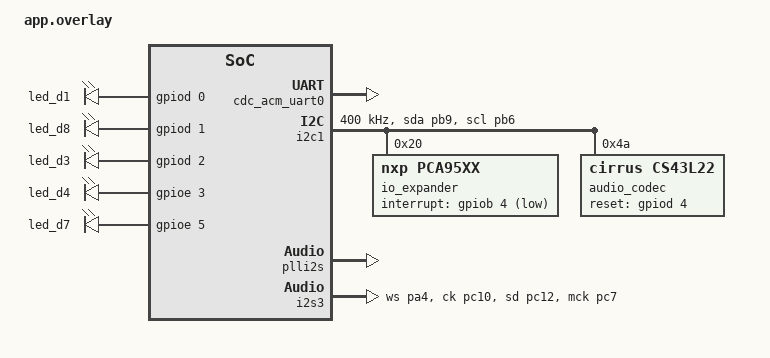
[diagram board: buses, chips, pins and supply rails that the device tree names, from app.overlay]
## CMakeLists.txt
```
cmake_minimum_required(VERSION 3.20.0)

set(CMAKE_EXPORT_COMPILE_COMMANDS ON)
set(DTC_OVERLAY_FILE ./app.overlay)

find_package(Zephyr REQUIRED HINTS $ENV{ZEPHYR_BASE})

project(synthesizer)
add_subdirectory(drivers)

file(GLOB sources src/*.c src/*.cpp src/*/*.c src/*/*.cpp)
target_sources(app PRIVATE ${sources})
```

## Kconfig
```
# Copyright (c) 2021 Nordic Semiconductor ASA
# SPDX-License-Identifier: Apache-2.0
#
# This Kconfig file is picked by the Zephyr build system because it is defined
# as the module Kconfig entry point (see zephyr/module.yml). You can browse
# module options by going to Zephyr -> Modules in Kconfig.

rsource "drivers/Kconfig"

source "Kconfig.zephyr"
```

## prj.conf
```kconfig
# Enable GPIO support.
CONFIG_GPIO=y

# Enable USB stack for emulated UART shell.
CONFIG_USB_DEVICE_STACK=y
CONFIG_USB_DEVICE_PRODUCT="Synthesizer"
CONFIG_USB_DEVICE_PID=0x0001
CONFIG_USB_DEVICE_INITIALIZE_AT_BOOT=n

# Enable UART driver.
CONFIG_SERIAL=y
CONFIG_UART_LINE_CTRL=y
CONFIG_UART_INTERRUPT_DRIVEN=y

# Use UART for console and enable logging.
CONFIG_CONSOLE=y
CONFIG_UART_CONSOLE=y
CONFIG_LOG=y

# Port expander support.
CONFIG_I2C=y
CONFIG_GPIO_PCA95XX=y
CONFIG_GPIO_PCA95XX_INTERRUPT=y

# DAC support.
CONFIG_I2S=y
CONFIG_AUDIO=y
CONFIG_AUDIO_CODEC=y

# Rotary encoder support.
# CONFIG_SENSOR=y
# CONFIG_INPUT=y
# CONFIG_INPUT_GPIO_QDEC=y

CONFIG_CPP=y

# TODO
# CONFIG_EVENTS=y
CONFIG_CMSIS_DSP=y
CONFIG_FPU=y
CONFIG_CMSIS_DSP_TRANSFORM=y
CONFIG_CMSIS_DSP_FILTERING=y
```

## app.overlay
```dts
// NOTE:
// - PE14 doesn't seem to be hooked up on the board, so SW2 doesn't do DOWN.

/ {
    chosen {
        led,debug_0 = &green_led_4;
        led,debug_1 = &orange_led_3;
        led,debug_2 = &red_led_5;
        led,debug_3 = &blue_led_6;
        led,status_0 = &led_d1;
        led,status_1 = &led_d8;
        led,status_2 = &led_d3;
        led,status_3 = &led_d4;
        led,status_4 = &led_d7;

        enc,osc_wave = &enc_s3;
        enc,osc_pitch = &enc_s1;
        enc,osc_volume = &enc_s4;

        audio,i2s = &i2s3;
        audio,codec = &audio_codec;

        // enc,lfo_freq = &enc_s2;
        // enc,lfo_amp = &enc_s5;
        // enc,lfo_amp_rel = &enc_s6;
        // enc_amp_mod_att = &enc_lfo_freq;
        // enc_amp_mod_sus = &enc_lfo_amp;

        sw,osc_sel = &sw_osc1;
        sw,effects_sel = &sw1;
        sw,effects_target = &sw2;
        sw,effects_conf = &sw3;
    };

    switches {
        compatible = "three-pos-switches";

        sw_osc1: sw_osc1 {
            down-pin = <&gpioe 8 GPIO_ACTIVE_HIGH>;
            up-pin = <&gpioe 9 GPIO_ACTIVE_HIGH>;
        };

        sw1: sw1 {
            down-pin = <&gpioe 12 GPIO_ACTIVE_HIGH>;
            up-pin = <&gpioe 13 GPIO_ACTIVE_HIGH>;
        };

        sw2: sw2 {
            down-pin = <&gpioe 14 GPIO_ACTIVE_HIGH>;
            up-pin = <&gpioe 15 GPIO_ACTIVE_HIGH>;
        };

        sw3: sw3 {
            down-pin = <&gpioe 10 GPIO_ACTIVE_HIGH>;
            up-pin = <&gpioe 11 GPIO_ACTIVE_HIGH>;
        };
    };

    encoders {
        compatible = "rotary-encoders";

        enc_s3: s3 {
            a-pin = <&io_expander 0 GPIO_ACTIVE_HIGH>;
            b-pin = <&io_expander 1 GPIO_ACTIVE_HIGH>;
        };

        enc_s1: s1 {
            a-pin = <&io_expander 2 GPIO_ACTIVE_HIGH>;
            b-pin = <&io_expander 3 GPIO_ACTIVE_HIGH>;
        };

        enc_s4: s4 {
            a-pin = <&io_expander 4 GPIO_ACTIVE_HIGH>;
            b-pin = <&io_expander 5 GPIO_ACTIVE_HIGH>;
        };
        enc_s2: s2 {
            a-pin = <&io_expander 6 GPIO_ACTIVE_HIGH>;
            b-pin = <&io_expander 7 GPIO_ACTIVE_HIGH>;
        };
        enc_s5: s5 {
            a-pin = <&io_expander 8 GPIO_ACTIVE_HIGH>;
            b-pin = <&io_expander 9 GPIO_ACTIVE_HIGH>;
        };
        enc_s6: s6 {
            a-pin = <&io_expander 10 GPIO_ACTIVE_HIGH>;
            b-pin = <&io_expander 11 GPIO_ACTIVE_HIGH>;
        };
    };

    leds {
        compatible = "gpio-leds";

        led_d1: d1 {
            gpios = <&gpiod 0 GPIO_ACTIVE_HIGH>;
        };
        led_d8: d8 {
            gpios = <&gpiod 1 GPIO_ACTIVE_HIGH>;
        };
        led_d3: d3 {
            gpios = <&gpiod 2 GPIO_ACTIVE_HIGH>;
        };
        led_d4: d4 {
            gpios = <&gpioe 3 GPIO_ACTIVE_HIGH>;
        };
        led_d7: d7 {
            gpios = <&gpioe 5 GPIO_ACTIVE_HIGH>;
        };
    };
};

&zephyr_udc0 {
    cdc_acm_uart0 {
		compatible = "zephyr,cdc-acm-uart";
	};
};

&i2c1 {
    status = "okay";

    clock-frequency = <I2C_BITRATE_FAST>;
    pinctrl-0 = <&i2c1_sda_pb9 &i2c1_scl_pb6>;
    pinctrl-names = "default";

    io_expander: pca9555@20 {
        compatible = "nxp,pca95xx";
        reg = <0x20>;

        gpio-controller;
        #gpio-cells = <2>;
        ngpios = <16>;
        interrupt-gpios = <&gpiob 4 GPIO_ACTIVE_LOW>;
    };

	audio_codec: cs43l22@4a {
		compatible = "cirrus,cs43l22";
		reg = <0x4a>;

		reset-gpios = <&gpiod 4 0>;
	};
};

&dma1 {
    status = "okay";
};

&plli2s {
    status = "okay";

    mul-n = <271>;
    div-r = <2>;
};

&i2s3 {
    status = "okay";

    mck-enabled;
    pinctrl-0 = <&i2s3_ws_pa4 &i2s3_ck_pc10 &i2s3_sd_pc12 &i2s3_mck_pc7>;
    clocks = <&rcc STM32_CLOCK_BUS_APB1 0x00008000>,
             <&rcc STM32_SRC_PLLI2S_R I2S_SEL(0)>;
    pinctrl-names = "default";
};
```

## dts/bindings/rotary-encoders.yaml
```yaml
description: A set of rotary encoders
compatible: rotary-encoders

child-binding:
  description: A rotary encoder with quadrature-encoded outputs
  properties:
    a-pin:
      type: phandle-array
      specifier-space: gpio
      required: true
      description: GPIO handle for the A pin
    b-pin:
      type: phandle-array
      specifier-space: gpio
      required: true
      description: GPIO handle for the B pin
```

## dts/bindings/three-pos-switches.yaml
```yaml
description: A set of three position switches
compatible: three-pos-switches

child-binding:
  description: A switch that can take three position

  properties:
    down-pin:
      type: phandle-array
      specifier-space: gpio
      required: true
      description: GPIO handle for the down pin
    up-pin:
      type: phandle-array
      specifier-space: gpio
      required: true
      description: GPIO handle for the up pin
```

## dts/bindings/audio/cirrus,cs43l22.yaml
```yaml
# Copyright (c) 2024 Titouan Christophe
# SPDX-License-Identifier: Apache-2.0

description: Cirrus CS43L22 audio DAC

include: [i2c-device.yaml]

compatible: "cirrus,cs43l22"

properties:
  reg:
    required: true

  reset-gpios:
    required: true
    type: phandle-array
    description: |
      RESET pin
```

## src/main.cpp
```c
#include <errno.h>
#include <stdbool.h>
#include <stddef.h>
#include <zephyr/device.h>
#include <zephyr/devicetree.h>
#include <zephyr/drivers/clock_control.h>
#include <zephyr/drivers/gpio.h>
#include <zephyr/drivers/i2s.h>
#include <zephyr/kernel.h>
#include <zephyr/kernel/thread.h>
#include <zephyr/kernel/thread_stack.h>
#include <zephyr/logging/log.h>
#include <zephyr/logging/log_core.h>
#include <zephyr/sys/time_units.h>
#include <zephyr/sys_clock.h>

#include <cstddef>

#include "Audio.hpp"
#include "KeyPress.hpp"
#include "Synthesizer.hpp"
#include "Synthesizer/Key.hpp"
#include "USB.hpp"
#include "leds.h"
#include "peripherals.hpp"

LOG_MODULE_REGISTER(main, LOG_LEVEL_INF);

constexpr size_t STACK_SIZE = 1024;

struct k_thread synth_thread;
struct k_thread keyboard_thread;

K_THREAD_STACK_DEFINE(synth_stack, STACK_SIZE);
K_THREAD_STACK_DEFINE(keyboard_stack, STACK_SIZE);

/// Function that checks key presses
static void check_keyboard(void) {
    char character;
    while (USB::read(&character, 1) != 0) {
        auto key         = Key(character);
        bool key_pressed = false;
        for (unsigned int i = 0; i < MAX_KEYPRESSES; ++i) {
            if (key == keypresses[i].k && keypresses[i].state != KeyPress::IDLE) {
                keypresses[i].state        = KeyPress::PRESSED;
                keypresses[i].hold_time    = sys_timepoint_calc(K_MSEC(500));
                keypresses[i].release_time = sys_timepoint_calc(K_MSEC(500));
                key_pressed                = true;
            }
        }
        // The second loop is necessary to avoid selecting an IDLE key when a
        // PRESSED or RELEASED key is located further away on the array
        if (!key_pressed) {
            for (unsigned int i = 0; i < MAX_KEYPRESSES; ++i) {
                if (keypresses[i].state == KeyPress::IDLE) {
                    keypresses[i].k            = key;
                    keypresses[i].state        = KeyPress::PRESSED;
                    keypresses[i].hold_time    = sys_timepoint_calc(K_MSEC(500));
                    keypresses[i].release_time = sys_timepoint_calc(K_MSEC(500));
                    keypresses[i].phase[0]     = 0;
                    keypresses[i].phase[1]     = 0;
                    break;
                }
            }
        }
    }
}

static inline int prepare_buffer(const k_timeout_t alloc_timeout,
                                 const k_timeout_t synth_timeout) {
    const auto block = Audio::get_block(alloc_timeout);
    if (block == nullptr) {
        return -ENOMEM;
    }

    return Synthesizer::synthesize(block, synth_timeout);
}

static void synth_thread_func(void *arg1, void *arg2, void *arg3) {
    // Fill the audio TX queue to ensure further allocs block until DMA free.
    for (unsigned int i = 0; i < Audio::BLOCK_COUNT; ++i) {
        prepare_buffer(K_NO_WAIT, K_FOREVER);
        Audio::write_block();
    }

    int ret = Audio::start_writes();
    if (ret < 0) {
        LOG_ERR("Failed to start audio writes: %d", -ret);
        return;
    }

    bool overload_led_set = false;
    while (true) {
        // NOTE:
        // Since the TX queue is filled at this point, this call will block
        // until the DMA is done and frees one the pending block. This will
        // never take longer than Audio::BLOCK_DURATION_MS. After getting this
        // block, to keep the I2S queue hydrated, another transfer MUST be
        // queued within Audio::BLOCK_DURATION_MS.
        //
        // While blocking, CPU is yielded to lower priority tasks.
        // Ensure that synthizer leaves a 20 ms slack.
        ret = prepare_buffer(K_FOREVER, K_MSEC(Audio::BLOCK_DURATION_MS - 20));
        if (ret == -ETIMEDOUT) {
            Audio::clear_block();
            (void)led_set(LED_STATUS_4);
            overload_led_set = true;
        } else if (overload_led_set) {
            led_reset(LED_STATUS_4);
            overload_led_set = false;
        }

        led_set(LED_STATUS_1);
        Audio::write_block();
        led_reset(LED_STATUS_1);
    }
}

int main(void) {
    int ret;

    constexpr auto usb_dev = DEVICE_DT_GET_ONE(zephyr_cdc_acm_uart);
    ret                    = USB::init(usb_dev);
    if (ret < 0) {
        LOG_ERR("USB initialization failed: %d", -ret);
        return ret;
    }

    ret = leds_init();
    if (ret < 0) {
        USB::println("LEDs initialization failed: %d", -ret);
        return ret;
    }

    constexpr auto audio_i2s_dev   = DEVICE_DT_GET(DT_CHOSEN(audio_i2s));
    constexpr auto audio_codec_dev = DEVICE_DT_GET(DT_CHOSEN(audio_codec));
    ret                            = Audio::init(audio_codec_dev, audio_i2s_dev);
    if (ret < 0) {
        USB::println("Audio initialization failed: %d", -ret);
        return ret;
    }

    ret = peripherals_init();
    if (ret < 0) {
        USB::println("Peripheral initialization failed: %d", -ret);
        return ret;
    }

    Synthesizer::init();

    (void)USB::println("== Synthesizer up and running ==");

    (void)k_thread_create(&synth_thread, synth_stack, STACK_SIZE, synth_thread_func, nullptr,
                          NULL, NULL, -1, 0, K_NO_WAIT);

    (void)k_thread_create(
        &keyboard_thread, keyboard_stack, STACK_SIZE,
        [](void *_a, void *_b, void *_c) {
            while (true) {
                led_set(LED_DEBUG_1);
                check_keyboard();
                led_reset(LED_DEBUG_1);

                k_msleep(20);
            }
        },
        nullptr, nullptr, nullptr, 2, 0, K_NO_WAIT);

    return 0;
}
```

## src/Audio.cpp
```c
#include "Audio.hpp"

#include <errno.h>
#include <stdbool.h>
#include <stddef.h>
#include <stdint.h>
#include <stm32_ll_spi.h>
#include <string.h>
#include <sys/cdefs.h>
#include <zephyr/audio/codec.h>
#include <zephyr/device.h>
#include <zephyr/devicetree.h>
#include <zephyr/drivers/gpio.h>
#include <zephyr/drivers/i2c.h>
#include <zephyr/drivers/i2s.h>
#include <zephyr/kernel.h>
#include <zephyr/logging/log.h>
#include <zephyr/logging/log_core.h>
#include <zephyr/sys/time_units.h>
#include <zephyr/sys/util.h>
#include <zephyr/sys_clock.h>

#include <cstdint>

LOG_MODULE_REGISTER(audio, LOG_LEVEL_INF);

int16_t *Audio::current_block;
const struct device *Audio::codec_dev;
const struct device *Audio::i2s_dev;
struct k_mem_slab Audio::mem_slab;
int16_t Audio::mem_slab_buffer[][SAMPLES_PER_BLOCK];

int Audio::init(const struct device *const codec_dev, const struct device *const i2s_dev) {
    int ret;

    if (codec_dev == nullptr || i2s_dev == nullptr) {
        LOG_ERR("Got null device pointer");
        return -EINVAL;
    }

    ret = k_mem_slab_init(&mem_slab, mem_slab_buffer, sizeof(mem_slab_buffer[0]), BLOCK_COUNT);
    if (ret < 0) {
        LOG_ERR("Failed to initialize memory slab: %d", -ret);
        return ret;
    }

    if (!device_is_ready(i2s_dev)) {
        LOG_ERR("I2S bus not ready");
        return -ENODEV;
    }

    if (!device_is_ready(codec_dev)) {
        LOG_ERR("Codec bus not ready");
        return -ENODEV;
    }

    Audio::codec_dev = codec_dev;
    Audio::i2s_dev   = i2s_dev;

    const struct i2s_config i2s_config = {
        .word_size      = 16,  // NOTE: Each sample is int16_t
        .channels       = CHANNEL_COUNT,
        .format         = I2S_FMT_DATA_FORMAT_I2S,
        .options        = I2S_OPT_FRAME_CLK_MASTER | I2S_OPT_BIT_CLK_MASTER,
        .frame_clk_freq = SAMPLING_FREQUENCY,
        .mem_slab       = &mem_slab,
        .block_size     = sizeof(mem_slab_buffer[0]),
        .timeout        = SYS_FOREVER_MS,
    };
    ret = i2s_configure(Audio::i2s_dev, I2S_DIR_TX, &i2s_config);
    if (ret < 0) {
        LOG_ERR("Failed to configure I2S: %d", -ret);
        return ret;
    }

    struct audio_codec_cfg codec_config;
    codec_config.dai_type    = AUDIO_DAI_TYPE_I2S;
    codec_config.dai_cfg.i2s = i2s_config;
    ret                      = audio_codec_configure(Audio::codec_dev, &codec_config);
    if (ret < 0) {
        LOG_ERR("Failed to configure audio codec: %d", -ret);
        return ret;
    }

    return 0;
}

int Audio::set_volume(const uint8_t volume) {
    int ret;

    audio_property_value_t value = {.vol = volume};

    ret = audio_codec_set_property(codec_dev, AUDIO_PROPERTY_OUTPUT_VOLUME,
                                   AUDIO_CHANNEL_SIDE_LEFT, value);
    if (ret < 0) {
        LOG_ERR("Failed to set right channel volume: %d", -ret);
        return ret;
    }

    ret = audio_codec_set_property(codec_dev, AUDIO_PROPERTY_OUTPUT_VOLUME,
                                   AUDIO_CHANNEL_SIDE_RIGHT, value);
    if (ret < 0) {
        LOG_ERR("Failed to set right channel volume: %d", -ret);
        return ret;
    }

    return 0;
}

int16_t *Audio::get_block(const k_timeout_t timeout) {
    // NOTE:
    // `i2s_write()` frees the allocated block once the DMA is done so no free
    // is required.
    int ret = k_mem_slab_alloc(&mem_slab, (void **)&current_block, timeout);
    if (ret < 0) {
        LOG_ERR("Failed to allocate TX block: %d", -ret);
        return nullptr;
    }

    return current_block;
}

void Audio::clear_block(void) {
    (void)memset(current_block, 0, sizeof(mem_slab_buffer[0]));
}

int Audio::write_block(void) {
    int ret;

    ret = i2s_write(i2s_dev, current_block, sizeof(mem_slab_buffer[0]));
    if (ret < 0) {
        if (ret != -EIO) {
            LOG_ERR("Failed to write data: %d", -ret);
            return ret;
        }

        LOG_DBG("I2S queue emptied, attempting to prepare it");
        ret = i2s_trigger(i2s_dev, I2S_DIR_TX, I2S_TRIGGER_PREPARE);
        if (ret < 0) {
            LOG_ERR("Failed to prepare I2S: %d", -ret);
            return ret;
        }
        Audio::write_block();

        return 0;
    }

    return 0;
}

int Audio::start_writes(void) {
    int ret;

    ret = i2s_trigger(i2s_dev, I2S_DIR_TX, I2S_TRIGGER_START);
    if (ret < 0) {
        LOG_ERR("Failed to trigger I2S: %d", -ret);
        return ret;
    }

    return 0;
}
```

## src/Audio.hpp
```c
#pragma once

#include <sys/cdefs.h>
#include <zephyr/device.h>
#include <zephyr/kernel.h>
#include <zephyr/sys_clock.h>

#include <cstdint>

class Audio {
   private:
    static const struct device* codec_dev;
    static const struct device* i2s_dev;
    static int16_t* current_block;

   public:
    // Double buffered.
    static constexpr unsigned int BLOCK_COUNT = 2;

    static constexpr unsigned int CHANNEL_COUNT      = 2;
    static constexpr unsigned int SAMPLING_FREQUENCY = 44100;

    // Milliseconds of data a block must contain.
    static constexpr unsigned int BLOCK_DURATION_MS = 50;

    static constexpr unsigned int SAMPLES_PER_BLOCK =
        SAMPLING_FREQUENCY * BLOCK_DURATION_MS * CHANNEL_COUNT / 1000;

    // Disallow creating an instance of this class.
    Audio() = delete;

    /// @brief Audio initialization function
    /// Call this function before you call any other function from this library
    /// @return 0 on success, -ERRNO otherwise
    static int init(const struct device* codec_dev, const struct device* i2s_dev);

    /// @brief Set the output volume/amplitude
    /// @param volume volume value, from 0 to 255
    /// @return 0 on success, -ERRNO otherwise
    static int set_volume(uint8_t volume);

    /// @brief Get an audio block to write data to
    /// @param timeout timeout for allocation
    /// @return buffer pointer on success, nullptr otherwise
    static int16_t* get_block(k_timeout_t timeout);

    /// @brief Clear the current block.
    static void clear_block(void);

    /// @brief Write the previously requested block.
    /// @return 0 on success, -ERRNO otherwise
    static int write_block(void);

    /// @brief Trigger start the queued writes.
    /// @return 0 on success, -ERRNO otherwise
    static int start_writes(void);

   private:
    static struct k_mem_slab mem_slab;
    static int16_t __aligned(4) mem_slab_buffer[BLOCK_COUNT][SAMPLES_PER_BLOCK];
};
```

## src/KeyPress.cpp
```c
#include "KeyPress.hpp"

#include <zephyr/kernel.h>
#include <zephyr/sys_clock.h>

#include "Synthesizer/Key.hpp"

KeyPress keypresses[MAX_KEYPRESSES];

KeyPress::KeyPress(void)
    : k{Key::A3},
      state{IDLE},
      hold_time{sys_timepoint_calc(K_FOREVER)},
      release_time{sys_timepoint_calc(K_FOREVER)},
      phase{0, 0} {}
```

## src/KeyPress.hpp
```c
#pragma once

#include <stdint.h>
#include <zephyr/kernel.h>
#include <zephyr/sys_clock.h>

#include "Synthesizer/Key.hpp"

/// @brief Maximum number of keys. Space allocated at compile time.
constexpr uint8_t MAX_KEYPRESSES = 4;

class KeyPress {
   public:
    Key k;
    enum { IDLE, PRESSED, RELEASED } state;
    k_timepoint_t hold_time;
    k_timepoint_t release_time;
    uint16_t phase[2];

    KeyPress(void);

    /// @brief Get the frequency of this specific key
    /// @return this key's frequency
    float get_freq(void);
};

extern KeyPress keypresses[MAX_KEYPRESSES];
```

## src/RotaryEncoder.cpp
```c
#include "RotaryEncoder.hpp"

#include <errno.h>
#include <sys/cdefs.h>
#include <zephyr/device.h>
#include <zephyr/drivers/gpio.h>
#include <zephyr/kernel.h>
#include <zephyr/logging/log.h>
#include <zephyr/logging/log_core.h>
#include <zephyr/sys/util.h>
#include <zephyr/sys/util_macro.h>

#include <cstdint>

LOG_MODULE_REGISTER(rotary_encoder, LOG_LEVEL_INF);

RotaryEncoder::RotaryEncoder(const Pins pins, const Callback callback)
    : callback(callback), prev_pin_state(0), pins(pins) {}

uint8_t RotaryEncoder::read_pins(void) {
    const bool a = gpio_pin_get_dt(&this->pins.a);
    const bool b = gpio_pin_get_dt(&this->pins.b);

    return (b << 1) | a;
}

int RotaryEncoder::init(void) {
    int ret;

    ret = gpio_pin_configure_dt(&this->pins.a, GPIO_INPUT);
    if (ret < 0) {
        LOG_ERR("Failed to initialize pin A: %d", -ret);
        return ret;
    }

    ret = gpio_pin_configure_dt(&this->pins.b, GPIO_INPUT);
    if (ret < 0) {
        LOG_ERR("Failed to initialize pin B: %d", -ret);
        return ret;
    }

    k_work_init_delayable(&this->dwork, [](struct k_work* const item) {
        struct k_work_delayable* dwork = k_work_delayable_from_work(item);
        RotaryEncoder* sw              = CONTAINER_OF(dwork, RotaryEncoder, dwork);
        sw->update();
    });

    gpio_init_callback(
        &this->a_cb,
        [](const struct device* dev, struct gpio_callback* cb, gpio_port_pins_t pins) {
            RotaryEncoder* enc = CONTAINER_OF(cb, RotaryEncoder, a_cb);
            k_work_schedule(&enc->dwork, K_MSEC(5));
        },
        BIT(pins.a.pin));
    ret = gpio_add_callback(this->pins.a.port, &this->a_cb);
    if (ret < 0) {
        LOG_ERR("Could not add callback to pin A: %d", -ret);
        return ret;
    }

    gpio_init_callback(
        &this->b_cb,
        [](const struct device* dev, struct gpio_callback* cb, gpio_port_pins_t pins) {
            RotaryEncoder* enc = CONTAINER_OF(cb, RotaryEncoder, b_cb);
            k_work_schedule(&enc->dwork, K_MSEC(5));
        },
        BIT(pins.b.pin));
    ret = gpio_add_callback(this->pins.b.port, &this->b_cb);
    if (ret < 0) {
        LOG_ERR("Could not add callbacks to pin B: %d", -ret);
        return ret;
    }

    this->prev_pin_state = this->read_pins();

    ret = gpio_pin_interrupt_configure_dt(&pins.a, GPIO_INT_EDGE_BOTH);
    if (ret < 0) {
        LOG_ERR("Could not enabled interrupts for pin A: %d", -ret);
        return ret;
    }

    ret = gpio_pin_interrupt_configure_dt(&pins.b, GPIO_INT_EDGE_BOTH);
    if (ret < 0) {
        LOG_ERR("Could not enabled interrupts for pin B: %d", -ret);
        return ret;
    }

    return 0;
}

int RotaryEncoder::update(void) {
    const uint8_t pin_state = this->read_pins();

    // No change observed.
    if (pin_state == this->prev_pin_state) {
        return 0;
    }

    // The mask follows the following gray code paths:
    // 00 -> 01 -> 11 -> 10 -> 00: Clockwise
    // 00 -> 10 -> 11 -> 01 -> 00: Anticlockwise

    // Input leads to a non-gray code transition, which is ambiguous.
    if ((pin_state & this->prev_pin_state) == 0) {
        LOG_DBG("Reached an ambiguous transition");
        this->prev_pin_state = pin_state;
        return -EINVAL;
    }

    // At this point, the state transition could either cause an increment or
    // decrement.
    bool is_clockwise;
    switch (this->prev_pin_state) {
        case 0b00:
            is_clockwise = pin_state == 0b01;
            break;
        case 0b01:
            is_clockwise = pin_state == 0b11;
            break;
        case 0b10:
            is_clockwise = pin_state == 0b00;
            break;
        case 0b11:
            is_clockwise = pin_state == 0b10;
            break;
        default:
            __unreachable();
    }

    this->prev_pin_state = pin_state;

    if (this->callback != nullptr) {
        this->callback(is_clockwise);
    }

    return 0;
}
```

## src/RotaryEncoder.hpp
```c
#pragma once

#include <zephyr/devicetree.h>
#include <zephyr/drivers/gpio.h>
#include <zephyr/kernel.h>

#include <cstdint>

#define ROTARY_ENCODER_PINS(node_label)                      \
    RotaryEncoder::Pins {                                    \
        .a = GPIO_DT_SPEC_GET(DT_CHOSEN(node_label), a_pin), \
        .b = GPIO_DT_SPEC_GET(DT_CHOSEN(node_label), b_pin)  \
    }

class RotaryEncoder {
   public:
    struct k_work_delayable dwork;
    typedef void (*Callback)(bool is_clockwise);
    typedef struct {
        const struct gpio_dt_spec a;
        const struct gpio_dt_spec b;
    } Pins;

   private:
    struct gpio_callback a_cb;
    struct gpio_callback b_cb;
    Callback callback;
    uint8_t prev_pin_state;
    Pins pins;

    uint8_t read_pins(void);

   public:
    /// @brief Encoder constructor
    /// @param pins Encoder pins
    /// @param min_value The minimum value that the encoder state can reach
    /// @param max_value The maximum value that the encoder state can reach
    /// @param callback Callback to be executed on state change.
    RotaryEncoder(Pins pins, Callback callback = nullptr);

    /// @brief Encoder initialization function
    /// Call this function during initialization
    /// @return Returns 0 on success, -EINVAL if invalid bounds (lower >= upper)
    int init(void);

    /// @brief Update the encoder
    /// @param pin0
    /// @param pin1
    int update(void);
};
```

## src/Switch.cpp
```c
#include "Switch.hpp"

#include <errno.h>
#include <zephyr/device.h>
#include <zephyr/drivers/gpio.h>
#include <zephyr/dt-bindings/gpio/gpio.h>
#include <zephyr/kernel.h>
#include <zephyr/logging/log.h>
#include <zephyr/logging/log_core.h>
#include <zephyr/sys/util.h>
#include <zephyr/sys/util_macro.h>

LOG_MODULE_REGISTER(switch, LOG_LEVEL_INF);

Switch::State Switch::read_state(void) {
    const bool up   = gpio_pin_get_dt(&this->pins.up);
    const bool down = gpio_pin_get_dt(&this->pins.down);

    State state;
    if (up == down) {
        state = State::NEUTRAL;
    } else if (up) {
        state = State::UP;
    } else {
        state = State::DOWN;
    }

    return state;
}

int Switch::init(void) {
    int ret;

    if (!gpio_is_ready_dt(&this->pins.up)) {
        LOG_ERR("GPIO up was not ready");
        return -EBUSY;
    }
    ret = gpio_pin_configure_dt(&this->pins.up, GPIO_INPUT | GPIO_PULL_UP);
    if (ret < 0) {
        LOG_ERR("Could not configure up GPIO: %d", -ret);
        return ret;
    }

    if (!gpio_is_ready_dt(&this->pins.down)) {
        LOG_ERR("GPIO down was not ready");
        return -EBUSY;
    }
    ret = gpio_pin_configure_dt(&this->pins.down, GPIO_INPUT | GPIO_PULL_UP);
    if (ret < 0) {
        LOG_ERR("Could not configure up GPIO: %d", -ret);
        return ret;
    }

    k_work_init_delayable(&this->dwork, [](struct k_work* const item) {
        struct k_work_delayable* dwork = k_work_delayable_from_work(item);
        Switch* sw                     = CONTAINER_OF(dwork, Switch, dwork);
        sw->update();
    });

    gpio_init_callback(
        &this->up_cb,
        [](const struct device* dev, struct gpio_callback* cb, gpio_port_pins_t pins) {
            Switch* sw = CONTAINER_OF(cb, Switch, up_cb);
            k_work_schedule(&sw->dwork, K_MSEC(10));
        },
        BIT(pins.up.pin));
    ret = gpio_add_callback(this->pins.up.port, &this->up_cb);
    if (ret < 0) {
        LOG_ERR("Could not add callback to up pin: %d", -ret);
        return ret;
    }

    gpio_init_callback(
        &this->down_cb,
        [](const struct device* dev, struct gpio_callback* cb, gpio_port_pins_t pins) {
            Switch* sw = CONTAINER_OF(cb, Switch, down_cb);
            k_work_schedule(&sw->dwork, K_MSEC(10));
        },
        BIT(pins.down.pin));
    ret = gpio_add_callback(this->pins.down.port, &this->down_cb);
    if (ret < 0) {
        LOG_ERR("Could not add callbacks to down pin: %d", -ret);
        return ret;
    }

    this->last_state = this->read_state();

    ret = gpio_pin_interrupt_configure_dt(&pins.up, GPIO_INT_EDGE_BOTH);
    if (ret < 0) {
        LOG_ERR("Could not enabled interrupts for up pin: %d", -ret);
        return ret;
    }

    ret = gpio_pin_interrupt_configure_dt(&pins.down, GPIO_INT_EDGE_BOTH);
    if (ret < 0) {
        LOG_ERR("Could not enabled interrupts for down pin: %d", -ret);
        return ret;
    }

    return 0;
}

void Switch::update(void) {
    State state = this->read_state();
    if (state != this->last_state && this->callback != nullptr) {
        this->callback(state);
    }

    this->last_state = state;
}

Switch::Switch(Pins pins, Callback callback)
    : pins(pins), last_state(NEUTRAL), callback(callback) {}
```

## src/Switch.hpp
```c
#pragma once

#include <zephyr/devicetree.h>
#include <zephyr/drivers/gpio.h>
#include <zephyr/kernel.h>

#define SWITCH_GPIO_PINS(node_label)                              \
    Switch::Pins {                                                \
        .up   = GPIO_DT_SPEC_GET(DT_CHOSEN(node_label), up_pin),  \
        .down = GPIO_DT_SPEC_GET(DT_CHOSEN(node_label), down_pin) \
    }

class Switch {
   public:
    struct k_work_delayable dwork;
    enum State { DOWN, NEUTRAL, UP };
    struct Pins {
        const struct gpio_dt_spec up;
        const struct gpio_dt_spec down;
    };
    // Switch's callback type definition, called when the switch changes its state
    typedef void (*Callback)(State state);

   private:
    struct gpio_callback up_cb;
    struct gpio_callback down_cb;
    Pins pins;
    State last_state;
    Callback callback;

    Switch::State read_state(void);

   public:
    /// @brief Constructor
    /// Call this function during initialization before calling the rest of the fuctions
    /// @param pins Up and down pins
    /// @param callback the callback that is called when the switch changes its state.
    /// no callback
    Switch(Pins pins, Callback callback = nullptr);

    /// @brief Switch's initialization function
    /// @return 0 on success, -ERRNO otherwise
    int init(void);

    /// @brief Switch update function.
    void update(void);
};
```

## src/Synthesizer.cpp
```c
#include "Synthesizer.hpp"

#include <errno.h>
#include <stdint.h>
#include <sys/cdefs.h>
#include <zephyr/logging/log.h>
#include <zephyr/logging/log_core.h>
#include <zephyr/sys/util.h>
#include <zephyr/sys_clock.h>

#include <cstdint>

#include "Audio.hpp"
#include "KeyPress.hpp"
#include "Synthesizer/Oscillator.hpp"
#include "USB.hpp"

LOG_MODULE_REGISTER(synthesizer, LOG_LEVEL_INF);

Oscillator Synthesizer::osc[];
Synthesizer::Mode Synthesizer::current_mode;
Synthesizer::Effect Synthesizer::current_effect;
uint8_t Synthesizer::master_volume;

static const char *const MODE_STRING_MAP[Synthesizer::Mode::COUNT] = {
    [Synthesizer::Mode::OSC1]   = "OSC1",
    [Synthesizer::Mode::OSC2]   = "OSC2",
    [Synthesizer::Mode::MASTER] = "MASTER",
};

static const char *const WAVETYPE_STRING_MAP[Oscillator::WaveType::COUNT] = {
    [Oscillator::WaveType::SINE]     = "Sine",
    [Oscillator::WaveType::TRIANGLE] = "Triangle",
    [Oscillator::WaveType::SQUARE]   = "Square",
    [Oscillator::WaveType::SAWTOOTH] = "Sawtooth",
};

void Synthesizer::init(void) {
    master_volume = UINT8_MAX;
}

void Synthesizer::change_waveform(const bool must_increase) {
    Oscillator::WaveType waveform;
    switch (current_mode) {
        case Mode::OSC1:
        case Mode::OSC2:
            waveform = osc[current_mode].change_waveform(must_increase);
            USB::println("[%s] Waveform: %s", MODE_STRING_MAP[current_mode],
                         WAVETYPE_STRING_MAP[waveform]);
            break;
        case Mode::MASTER:
            USB::println("[MASTER] LPF resonance (pending feature)");
            return;
        default:
            __unreachable();
    }
}

void Synthesizer::change_pitch(const bool must_increase) {
    switch (current_mode) {
        case Mode::OSC1:
        case Mode::OSC2:
            osc[current_mode].change_pitch(must_increase);
            USB::println("[%s] Pitch: %f Hz", MODE_STRING_MAP[current_mode],
                         osc[current_mode].get_freq_shift());
            break;
        case Mode::MASTER:
            USB::println("[MASTER] LPF cutoff frequency (pending feature)");
            break;
        default:
            __unreachable();
    }
}

void Synthesizer::change_volume(const bool must_increase) {
    uint16_t volume;
    int ret;
    switch (current_mode) {
        case Mode::OSC1:
        case Mode::OSC2:
            volume = osc[current_mode].change_volume(must_increase);
            break;
        case Mode::MASTER:
            master_volume = CLAMP(master_volume + (must_increase ? 1 : -1) * 2, 0, UINT8_MAX);
            volume        = master_volume;
            ret           = Audio::set_volume(master_volume);
            if (ret < 0) {
                LOG_ERR("Failed to set master volume: %d", -ret);
            }
            break;
        default:
            __unreachable();
    }

    USB::println("[%s] Volume: %u", MODE_STRING_MAP[current_mode], volume);
}

void Synthesizer::set_effect(const Effect effect) {
    current_effect = effect;

    switch (effect) {
        case LFO_MOD:
            USB::println("Configuring LFO modulator (not implemented)");
            break;
        case AMP_MOD:
            USB::println("Configuring amplitude modulator (not implemented)");
            break;
        case SPECIAL:
            USB::println("Configuring special effects (not implemented)");
            break;
    }
}

void Synthesizer::set_mode(const Mode mode) {
    // Save the previous state
    switch (mode) {
        case MASTER:
            // synth._master_volume_enc   = encoders[ENCODER_OSC_VOLUME].state;
            break;
        case OSC1:
            // synth._osc1.volume_enc     = encoders[ENCODER_OSC_VOLUME].state;
            // synth._osc1.wave_enc       = encoders[ENCODER_LPF_CUTOFF_OR_OSC_WAVE].state;
            // synth._osc1.freq_shift_enc = encoders[ENCODER_LPF_RES_OR_OSC_FREQ].state;
            break;
        case OSC2:
            // synth._osc2.volume_enc     = encoders[ENCODER_OSC_VOLUME].state;
            // synth._osc2.wave_enc       = encoders[ENCODER_LPF_CUTOFF_OR_OSC_WAVE].state;
            // synth._osc2.freq_shift_enc = encoders[ENCODER_LPF_RES_OR_OSC_FREQ].state;
            break;
        default:
            __unreachable();
    }

    // Load the new state
    switch (mode) {
        case MASTER:
            // encoders[ENCODER_OSC_VOLUME].state = synth._master_volume_enc;
            // encoders[LPF_CUTOFF_ENC].state     = synth._lpf._cutoff_freq;
            // encoders[LPF_RES_ENC].state        = synth._lpf._resonance_freq;
            break;
        case OSC1:
            // encoders[ENCODER_OSC_VOLUME].state             = synth._osc1.volume_enc;
            // encoders[ENCODER_LPF_CUTOFF_OR_OSC_WAVE].state = synth._osc1.wave_enc;
            // encoders[OSC_FREQ_ENC].state                   = synth._osc1.freq_shift_enc;
            break;
        case OSC2:
            // encoders[ENCODER_OSC_VOLUME].state             = synth._osc2.volume_enc;
            // encoders[ENCODER_LPF_CUTOFF_OR_OSC_WAVE].state = synth._osc2.wave_enc;
            // encoders[OSC_FREQ_ENC].state                   = synth._osc2.freq_shift_enc;
            break;
        default:
            __unreachable();
    }

    USB::println("[%s] Configured", MODE_STRING_MAP[mode]);

    current_mode = mode;

    // // Call the encoder's callbacks
    // encoders[ENCODER_OSC_VOLUME].callback(encoders[ENCODER_OSC_VOLUME]);
    // encoders[ENCODER_LPF_CUTOFF_OR_OSC_WAVE].callback(
    //     encoders[ENCODER_LPF_CUTOFF_OR_OSC_WAVE]);
    // encoders[OSC_FREQ_ENC].callback(encoders[OSC_FREQ_ENC]);
}

int16_t Synthesizer::compute_sample(KeyPress &key) {
    int16_t sample = 0;
    auto freq      = (float)key.k.freq_millihz() / 1000;

    switch (current_mode) {
        case OSC1:
        case OSC2:
            // Obtain sound frequency.
            freq *= osc[current_mode].get_freq_shift();

            // Calculate current key phase to select correct oscillator sample value
            key.phase[current_mode] += freq * 0x10000 / Audio::SAMPLING_FREQUENCY;
            sample = osc[current_mode].compute_sample(key.phase[current_mode]);
            break;
        case MASTER:
            return 0;
        default:
            __unreachable();
    }

    return sample;
}

int Synthesizer::synthesize(int16_t *const block, k_timeout_t timeout) {
    k_timepoint_t deadline = sys_timepoint_calc(timeout);

    // NOTE: We don't care about stereo, so send same data to both channels.
    for (unsigned int i = 0; i < Audio::SAMPLES_PER_BLOCK; i += Audio::CHANNEL_COUNT) {
        int16_t sample = 0;

        if (sys_timepoint_expired(deadline)) {
            return -ETIMEDOUT;
        }

        // Get the synthesized sound for every pressed key
        for (unsigned int j = 0; j < MAX_KEYPRESSES; ++j) {
            if (keypresses[j].state == KeyPress::PRESSED &&
                !sys_timepoint_expired(keypresses[j].hold_time)) {
                sample += compute_sample(keypresses[j]);
            } else if (keypresses[j].state == KeyPress::PRESSED &&
                       sys_timepoint_expired(keypresses[j].hold_time)) {
                keypresses[j].state = KeyPress::IDLE;
            }
        }

        for (unsigned int j = 0; j < Audio::CHANNEL_COUNT; ++j) {
            block[i + j] = sample;
        }
    }

    return 0;
}
```

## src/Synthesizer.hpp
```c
#pragma once

#include <stdint.h>
#include <zephyr/sys_clock.h>

#include "KeyPress.hpp"
#include "Synthesizer/Oscillator.hpp"

class Synthesizer {
   public:
    typedef enum {
        OSC1,
        OSC2,
        MASTER,

        COUNT,
    } Mode;

    typedef enum {
        LFO_MOD,
        AMP_MOD,
        SPECIAL,
    } Effect;

   private:
    static uint8_t master_volume;
    static Oscillator osc[2];
    static Mode current_mode;
    static Effect current_effect;

   public:
    // Disallow creating an instance of this class.
    Synthesizer() = delete;

    /// @brief Synthesizer initialization function
    /// Call this function during initialization before calling the rest of the fuctions
    static void init(void);

    static void set_mode(Mode oscillator);
    static void set_effect(Effect effect);

    static void change_waveform(bool must_increase);
    static void change_pitch(bool must_increase);
    static void change_volume(bool must_increase);

    /// @brief Populate the audio buffer with sound
    /// @param block the audio block
    /// @param timeout timeout for the operation.
    /// @return 0 on success, otherwise ERRNO
    static int synthesize(int16_t *block, k_timeout_t timeout);

    /// @brief Compute next sound value for a specific key
    /// @param key the key you want to generate sound with
    /// @return the next sound value
    static int16_t compute_sample(KeyPress &key);
};
```

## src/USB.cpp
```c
#include "USB.hpp"

#include <errno.h>
#include <stdarg.h>
#include <stddef.h>
#include <stdint.h>
#include <stdio.h>
#include <string.h>
#include <zephyr/device.h>
#include <zephyr/drivers/uart.h>
#include <zephyr/kernel.h>
#include <zephyr/logging/log.h>
#include <zephyr/logging/log_core.h>
#include <zephyr/sys/printk.h>
#include <zephyr/sys/ring_buffer.h>
#include <zephyr/sys/util.h>
#include <zephyr/toolchain.h>
#include <zephyr/usb/usb_device.h>

#include <cstdint>

LOG_MODULE_REGISTER(usb, LOG_LEVEL_INF);

static uint8_t format_buffer[1024];
static uint8_t rx_buffer[10];  // NOTE: Improbable to get faster input from a keyboard.
static struct ring_buf rx_ringbuf;
static const uint8_t* tx_buffer;
static size_t tx_remaining_bytes;

const struct device* USB::dev;

static void irq_handler(const struct device* const dev, void* const user_data) {
    if (uart_irq_update(dev) == 0) {
        return;
    }

    if (uart_irq_rx_ready(dev)) {
        uint8_t buffer[64];
        unsigned int received_bytes;
        do {
            // NOTE: This can not error since the same errors have been checked during init.
            received_bytes = uart_fifo_read(dev, buffer, sizeof(buffer));
            LOG_DBG("Received %u bytes", received_bytes);

            const uint32_t buffered_bytes = ring_buf_put(&rx_ringbuf, buffer, received_bytes);
            if (buffered_bytes < received_bytes) {
                LOG_ERR("Dropped %u bytes", received_bytes - buffered_bytes);
            }
        } while (received_bytes == sizeof(buffer));
    }

    if (uart_irq_tx_ready(dev)) {
        // NOTE: This can not error since the same errors have been checked during init.
        const unsigned int bytes_sent = uart_fifo_fill(dev, tx_buffer, tx_remaining_bytes);
        tx_buffer += bytes_sent;
        tx_remaining_bytes -= bytes_sent;

        if (tx_remaining_bytes == 0) {
            LOG_DBG("Everything sent, disable TX IRQ");
            uart_irq_tx_disable(dev);
        }
    }
}

void USB::write(const uint8_t* const buffer, const uint32_t size) {
    tx_buffer          = buffer;
    tx_remaining_bytes = size;

    uart_irq_tx_enable(USB::dev);
}

int USB::init(const struct device* const dev) {
    int ret;

    if (dev == nullptr) {
        LOG_ERR("Device pointer is null");
        return -EINVAL;
    }

    if (!device_is_ready(dev)) {
        LOG_ERR("CDC ACM device not found");
        return -1;
    }

    USB::dev = dev;

    ret = usb_enable(nullptr);
    if (ret < 0) {
        LOG_ERR("Failed to enable USB: %d", -ret);
        return ret;
    }

    LOG_INF("Wait for DTR");
    uint32_t dtr = 0;
    while (dtr == 0) {
        (void)uart_line_ctrl_get(dev, UART_LINE_CTRL_DTR, &dtr);

        // Give CPU resources to low priority threads
        (void)k_msleep(100);
    }
    LOG_INF("DTR set");

    ring_buf_init((struct ring_buf*)&rx_ringbuf, sizeof(rx_buffer), rx_buffer);

    ret = uart_irq_callback_user_data_set(dev, irq_handler, nullptr);
    if (ret < 0) {
        switch (ret) {
            case -ENOTSUP:
                LOG_ERR("Interrupt-driven UART API support not enabled");
                break;
            case -ENOSYS:
                LOG_ERR("UART device does not support Interrupt-driven API");
                break;
            default:
                LOG_ERR("Failed to set UART callback: %d", -ret);
        }

        return ret;
    }

    uart_irq_rx_enable(dev);

    return 0;
}

uint32_t USB::read(char* const data, const uint32_t size) {
    return ring_buf_get((struct ring_buf*)&rx_ringbuf, (uint8_t*)data, size);
}

int USB::print(const char* format, ...) {
    va_list args;
    va_start(args, format);

    const int count = vsnprintf((char*)format_buffer, sizeof(format_buffer), format, args);
    write(format_buffer, count);

    va_end(args);

    return count;
}

int USB::println(const char* format, ...) {
    va_list args;
    va_start(args, format);

    int count = vsnprintf((char*)format_buffer, sizeof(format_buffer), format, args);

    constexpr char newline[]        = "\r\n";
    constexpr size_t newline_length = sizeof(newline) - 1;
    const size_t suffix_length      = MIN(sizeof(format_buffer) - count, newline_length);
    (void)memcpy(&format_buffer[count], newline, suffix_length);
    count += suffix_length;

    write(format_buffer, count);

    va_end(args);

    return count;
}
```

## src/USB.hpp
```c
#pragma once

#include <stdint.h>
#include <zephyr/device.h>
#include <zephyr/sys/ring_buffer.h>

#include <cstdint>

class USB {
   private:
    static const struct device* dev;

    static void write(const uint8_t* const buffer, const uint32_t size);

   public:
    // Disallow creating an instance of this class.
    USB() = delete;

    /// @brief USB initialization function.
    /// Call this function before printing to the serial port
    /// @return 0 on success, -ERRNO otherwise
    static int init(const struct device* dev);

    /// @brief Read data from the USB port
    /// @param data data pointer
    /// @param size size of the data pointer
    /// @return number of bytes read
    static uint32_t read(char* data, uint32_t size);

    /// @brief basic print function
    /// Does not support floating point, does not print a new line
    /// @param format C standard string format
    /// @param variables to parse into the string
    /// @return Number of bytes written
    static int print(const char* const format, ...);

    /// @brief basic println function
    /// Does not support floating point, does print a new line
    /// @param format C standard string format
    /// @param variables to parse into the string
    /// @return Number of bytes written
    static int println(const char* const format, ...);
};
```
